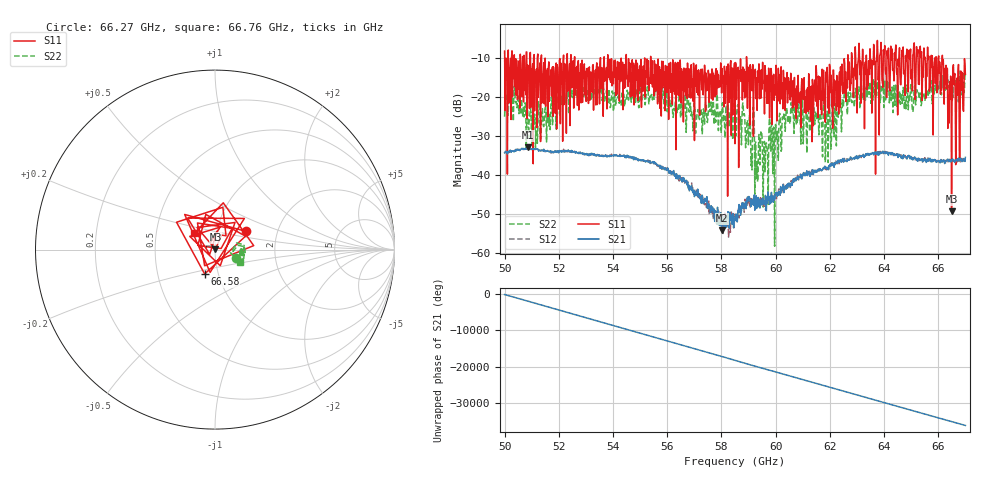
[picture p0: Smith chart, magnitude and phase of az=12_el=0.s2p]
!Created with skrf (http://scikit-rf.org).
# GHz S RI R 50.0
!freq ReS11 ImS11 ReS21 ImS21 ReS12 ImS12 ReS22 ImS22
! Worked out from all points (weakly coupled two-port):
!   1001 points, 50 GHz to 67 GHz, reference 50 ohm
!   highest |S21| = -32.80 dB at 50.85 GHz (marker M1); lowest = -54.1 dB at 58.01 GHz (marker M2)
!   lowest |S11| = -49.2 dB at 66.49 GHz (marker M3), VSWR 1.01, Z = 50.3 + j0.208 ohm
!   |S11| at or under -10 dB: 52.58 GHz to 53.53 GHz (949.2 MHz wide, 1.79 % of centre); 55.39 GHz to 58.92 GHz (3.533 GHz wide, 6.18 % of centre); 58.93 GHz to 62.66 GHz (3.735 GHz wide, 6.14 % of centre) (the widest 3 of 62)
!   |S22| runs from -58.2 to -13.2 dB; largest |S21 - S12| = 0.0022
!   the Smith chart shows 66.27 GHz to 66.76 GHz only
!   S11 on the Smith chart (normalised r, x): 66.27 GHz: 1.38, +0.29; 66.58 GHz: 0.86, -0.24; 66.76 GHz: 0.78, +0.14
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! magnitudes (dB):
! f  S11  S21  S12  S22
! 50 GHz  -8.1  -34.2  -34.2  -24.9
! 50.15 GHz  -21.4  -34.0  -34.2  -21.1
! 50.85 GHz  -11.7  -32.8  -33.1  -23.0
! 52.84 GHz  -12.0  -34.3  -34.3  -19.6
! 55.68 GHz  -13.3  -37.5  -37.6  -21.2
! 58.01 GHz  -18.9  -54.1  -51.1  -27.0
! 58.5 GHz  -31.8  -51.6  -50.5  -24.0
! 59.11 GHz  -12.9  -47.2  -46.0  -34.5
! 59.32 GHz  -23.3  -47.5  -48.0  -36.4
! 60.03 GHz  -14.4  -44.6  -46.3  -30.8
! 60.64 GHz  -15.7  -41.1  -41.1  -22.6
! 61.34 GHz  -31.4  -39.5  -38.4  -27.3
! 62 GHz  -12.1  -37.7  -37.3  -24.5
! 63.01 GHz  -24.0  -35.4  -35.5  -19.6
! 64.18 GHz  -12.0  -34.2  -34.2  -17.6
! 66.27 GHz  -14.0  -36.4  -37.0  -18.0
! 66.44 GHz  -20.5  -36.5  -36.4  -16.3
! 66.49 GHz  -49.2  -36.0  -36.4  -15.4
! 66.58 GHz  -16.6  -36.2  -36.2  -15.8
! 66.76 GHz  -16.7  -35.9  -35.7  -16.0
! 66.86 GHz  -18.1  -36.3  -35.6  -16.3
! 67 GHz  -14.1  -35.4  -35.7  -14.3
